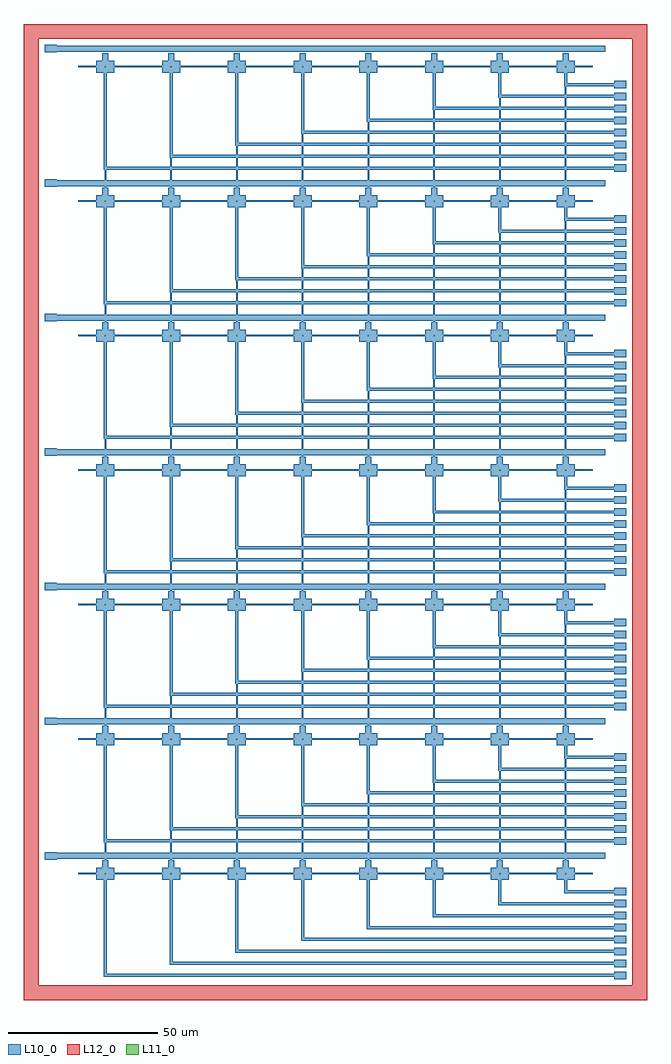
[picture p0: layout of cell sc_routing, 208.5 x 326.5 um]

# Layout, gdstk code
import gdstk
lib = gdstk.Library(unit=1e-6, precision=1e-09)
def R(c, l, rs):  # rectangles x0, y0, x1, y1
    for r in rs: c.add(gdstk.rectangle(r[:2], r[2:], *l))
def A(c, l, x, y, w, h, nx, ny, dx, dy):  # array of equal rectangles
    R(c, l, [(x+i*dx, y+j*dy, x+i*dx+w, y+j*dy+h) for i in range(nx) for j in range(ny)])
L10_0 = (10, 0)
L11_0 = (11, 0)
L12_0 = (12, 0)

sc_routing = lib.new_cell('sc_routing')
A(sc_routing, L10_0, 93.25, -170.25, 4, 2.5, 1, 8, 0, 4)
A(sc_routing, L10_0, -80, -137, 2.9, 4, 1, 7, 0, 45)
A(sc_routing, L10_0, -76.9, -137, 2.9, 4, 1, 7, 0, 45)
A(sc_routing, L10_0, -58, -137, 2.9, 4, 1, 7, 0, 45)
A(sc_routing, L10_0, -54.9, -137, 2.9, 4, 1, 7, 0, 45)
A(sc_routing, L10_0, -36, -137, 2.9, 4, 1, 7, 0, 45)
A(sc_routing, L10_0, -32.9, -137, 2.9, 4, 1, 7, 0, 45)
A(sc_routing, L10_0, -14, -137, 2.9, 4, 1, 7, 0, 45)
A(sc_routing, L10_0, -10.9, -137, 2.9, 4, 1, 7, 0, 45)
A(sc_routing, L10_0, 8, -137, 2.9, 4, 1, 7, 0, 45)
A(sc_routing, L10_0, 11.1, -137, 2.9, 4, 1, 7, 0, 45)
A(sc_routing, L10_0, 30, -137, 2.9, 4, 1, 7, 0, 45)
A(sc_routing, L10_0, 33.1, -137, 2.9, 4, 1, 7, 0, 45)
A(sc_routing, L10_0, 52, -137, 2.9, 4, 1, 7, 0, 45)
A(sc_routing, L10_0, 55.1, -137, 2.9, 4, 1, 7, 0, 45)
A(sc_routing, L10_0, 74, -137, 2.9, 4, 1, 7, 0, 45)
A(sc_routing, L10_0, 77.1, -137, 2.9, 4, 1, 7, 0, 45)
A(sc_routing, L10_0, -68.5, -135.25, 5, 0.5, 7, 7, 22, 45)
A(sc_routing, L10_0, -78, -133.5, 2, 3, 8, 7, 22, 45)
A(sc_routing, L10_0, -77.25, -133.5, 0.5, 42, 8, 6, 22, 45)
A(sc_routing, L10_0, -97.25, -130.25, 4, 2.5, 1, 7, 0, 45)
A(sc_routing, L10_0, 93.25, -125.25, 4, 2.5, 1, 8, 0, 4)
A(sc_routing, L10_0, 93.25, -80.25, 4, 2.5, 1, 8, 0, 4)
A(sc_routing, L10_0, 93.25, -35.25, 4, 2.5, 1, 8, 0, 4)
A(sc_routing, L10_0, 93.25, 9.75, 4, 2.5, 1, 8, 0, 4)
A(sc_routing, L10_0, 93.25, 54.75, 4, 2.5, 1, 8, 0, 4)
A(sc_routing, L10_0, 93.25, 99.75, 4, 2.5, 1, 8, 0, 4)
A(sc_routing, L11_0, -77.2, -135.15, 0.4, 0.3, 8, 7, 22, 45)
R(sc_routing, L12_0, [(-104.25,-177.25,104.25,-172.25), (-104.25,-177.25,-99.25,149.25), (99.25,-177.25,104.25,149.25), (-104.25,144.25,104.25,149.25)])
sc_routing.add(gdstk.FlexPath([(-80,-135),(-86,-135)], 0.5, ends="flush", simple_path=True, layer=10, datatype=0))  # L10_0
sc_routing.add(gdstk.FlexPath([(-74,-135),(-68,-135)], 0.5, ends="flush", simple_path=True, layer=10, datatype=0))  # L10_0
sc_routing.add(gdstk.FlexPath([(-58,-135),(-64,-135)], 0.5, ends="flush", simple_path=True, layer=10, datatype=0))  # L10_0
sc_routing.add(gdstk.FlexPath([(-52,-135),(-46,-135)], 0.5, ends="flush", simple_path=True, layer=10, datatype=0))  # L10_0
sc_routing.add(gdstk.FlexPath([(-36,-135),(-42,-135)], 0.5, ends="flush", simple_path=True, layer=10, datatype=0))  # L10_0
sc_routing.add(gdstk.FlexPath([(-30,-135),(-24,-135)], 0.5, ends="flush", simple_path=True, layer=10, datatype=0))  # L10_0
sc_routing.add(gdstk.FlexPath([(-14,-135),(-20,-135)], 0.5, ends="flush", simple_path=True, layer=10, datatype=0))  # L10_0
sc_routing.add(gdstk.FlexPath([(-8,-135),(-2,-135)], 0.5, ends="flush", simple_path=True, layer=10, datatype=0))  # L10_0
sc_routing.add(gdstk.FlexPath([(8,-135),(2,-135)], 0.5, ends="flush", simple_path=True, layer=10, datatype=0))  # L10_0
sc_routing.add(gdstk.FlexPath([(14,-135),(20,-135)], 0.5, ends="flush", simple_path=True, layer=10, datatype=0))  # L10_0
sc_routing.add(gdstk.FlexPath([(30,-135),(24,-135)], 0.5, ends="flush", simple_path=True, layer=10, datatype=0))  # L10_0
sc_routing.add(gdstk.FlexPath([(36,-135),(42,-135)], 0.5, ends="flush", simple_path=True, layer=10, datatype=0))  # L10_0
sc_routing.add(gdstk.FlexPath([(52,-135),(46,-135)], 0.5, ends="flush", simple_path=True, layer=10, datatype=0))  # L10_0
sc_routing.add(gdstk.FlexPath([(58,-135),(64,-135)], 0.5, ends="flush", simple_path=True, layer=10, datatype=0))  # L10_0
sc_routing.add(gdstk.FlexPath([(74,-135),(68,-135)], 0.5, ends="flush", simple_path=True, layer=10, datatype=0))  # L10_0
sc_routing.add(gdstk.FlexPath([(80,-135),(86,-135)], 0.5, ends="flush", simple_path=True, layer=10, datatype=0))  # L10_0
sc_routing.add(gdstk.FlexPath([(-80,-90),(-86,-90)], 0.5, ends="flush", simple_path=True, layer=10, datatype=0))  # L10_0
sc_routing.add(gdstk.FlexPath([(-74,-90),(-68,-90)], 0.5, ends="flush", simple_path=True, layer=10, datatype=0))  # L10_0
sc_routing.add(gdstk.FlexPath([(-58,-90),(-64,-90)], 0.5, ends="flush", simple_path=True, layer=10, datatype=0))  # L10_0
sc_routing.add(gdstk.FlexPath([(-52,-90),(-46,-90)], 0.5, ends="flush", simple_path=True, layer=10, datatype=0))  # L10_0
sc_routing.add(gdstk.FlexPath([(-36,-90),(-42,-90)], 0.5, ends="flush", simple_path=True, layer=10, datatype=0))  # L10_0
sc_routing.add(gdstk.FlexPath([(-30,-90),(-24,-90)], 0.5, ends="flush", simple_path=True, layer=10, datatype=0))  # L10_0
sc_routing.add(gdstk.FlexPath([(-14,-90),(-20,-90)], 0.5, ends="flush", simple_path=True, layer=10, datatype=0))  # L10_0
sc_routing.add(gdstk.FlexPath([(-8,-90),(-2,-90)], 0.5, ends="flush", simple_path=True, layer=10, datatype=0))  # L10_0
sc_routing.add(gdstk.FlexPath([(8,-90),(2,-90)], 0.5, ends="flush", simple_path=True, layer=10, datatype=0))  # L10_0
sc_routing.add(gdstk.FlexPath([(14,-90),(20,-90)], 0.5, ends="flush", simple_path=True, layer=10, datatype=0))  # L10_0
sc_routing.add(gdstk.FlexPath([(30,-90),(24,-90)], 0.5, ends="flush", simple_path=True, layer=10, datatype=0))  # L10_0
sc_routing.add(gdstk.FlexPath([(36,-90),(42,-90)], 0.5, ends="flush", simple_path=True, layer=10, datatype=0))  # L10_0
sc_routing.add(gdstk.FlexPath([(52,-90),(46,-90)], 0.5, ends="flush", simple_path=True, layer=10, datatype=0))  # L10_0
sc_routing.add(gdstk.FlexPath([(58,-90),(64,-90)], 0.5, ends="flush", simple_path=True, layer=10, datatype=0))  # L10_0
sc_routing.add(gdstk.FlexPath([(74,-90),(68,-90)], 0.5, ends="flush", simple_path=True, layer=10, datatype=0))  # L10_0
sc_routing.add(gdstk.FlexPath([(80,-90),(86,-90)], 0.5, ends="flush", simple_path=True, layer=10, datatype=0))  # L10_0
sc_routing.add(gdstk.FlexPath([(-80,-45),(-86,-45)], 0.5, ends="flush", simple_path=True, layer=10, datatype=0))  # L10_0
sc_routing.add(gdstk.FlexPath([(-74,-45),(-68,-45)], 0.5, ends="flush", simple_path=True, layer=10, datatype=0))  # L10_0
sc_routing.add(gdstk.FlexPath([(-58,-45),(-64,-45)], 0.5, ends="flush", simple_path=True, layer=10, datatype=0))  # L10_0
sc_routing.add(gdstk.FlexPath([(-52,-45),(-46,-45)], 0.5, ends="flush", simple_path=True, layer=10, datatype=0))  # L10_0
sc_routing.add(gdstk.FlexPath([(-36,-45),(-42,-45)], 0.5, ends="flush", simple_path=True, layer=10, datatype=0))  # L10_0
sc_routing.add(gdstk.FlexPath([(-30,-45),(-24,-45)], 0.5, ends="flush", simple_path=True, layer=10, datatype=0))  # L10_0
sc_routing.add(gdstk.FlexPath([(-14,-45),(-20,-45)], 0.5, ends="flush", simple_path=True, layer=10, datatype=0))  # L10_0
sc_routing.add(gdstk.FlexPath([(-8,-45),(-2,-45)], 0.5, ends="flush", simple_path=True, layer=10, datatype=0))  # L10_0
sc_routing.add(gdstk.FlexPath([(8,-45),(2,-45)], 0.5, ends="flush", simple_path=True, layer=10, datatype=0))  # L10_0
sc_routing.add(gdstk.FlexPath([(14,-45),(20,-45)], 0.5, ends="flush", simple_path=True, layer=10, datatype=0))  # L10_0
sc_routing.add(gdstk.FlexPath([(30,-45),(24,-45)], 0.5, ends="flush", simple_path=True, layer=10, datatype=0))  # L10_0
sc_routing.add(gdstk.FlexPath([(36,-45),(42,-45)], 0.5, ends="flush", simple_path=True, layer=10, datatype=0))  # L10_0
sc_routing.add(gdstk.FlexPath([(52,-45),(46,-45)], 0.5, ends="flush", simple_path=True, layer=10, datatype=0))  # L10_0
sc_routing.add(gdstk.FlexPath([(58,-45),(64,-45)], 0.5, ends="flush", simple_path=True, layer=10, datatype=0))  # L10_0
sc_routing.add(gdstk.FlexPath([(74,-45),(68,-45)], 0.5, ends="flush", simple_path=True, layer=10, datatype=0))  # L10_0
sc_routing.add(gdstk.FlexPath([(80,-45),(86,-45)], 0.5, ends="flush", simple_path=True, layer=10, datatype=0))  # L10_0
sc_routing.add(gdstk.FlexPath([(-80,0),(-86,0)], 0.5, ends="flush", simple_path=True, layer=10, datatype=0))  # L10_0
sc_routing.add(gdstk.FlexPath([(-74,0),(-68,0)], 0.5, ends="flush", simple_path=True, layer=10, datatype=0))  # L10_0
sc_routing.add(gdstk.FlexPath([(-58,0),(-64,0)], 0.5, ends="flush", simple_path=True, layer=10, datatype=0))  # L10_0
sc_routing.add(gdstk.FlexPath([(-52,0),(-46,0)], 0.5, ends="flush", simple_path=True, layer=10, datatype=0))  # L10_0
sc_routing.add(gdstk.FlexPath([(-36,0),(-42,0)], 0.5, ends="flush", simple_path=True, layer=10, datatype=0))  # L10_0
sc_routing.add(gdstk.FlexPath([(-30,0),(-24,0)], 0.5, ends="flush", simple_path=True, layer=10, datatype=0))  # L10_0
sc_routing.add(gdstk.FlexPath([(-14,0),(-20,0)], 0.5, ends="flush", simple_path=True, layer=10, datatype=0))  # L10_0
sc_routing.add(gdstk.FlexPath([(-8,0),(-2,0)], 0.5, ends="flush", simple_path=True, layer=10, datatype=0))  # L10_0
sc_routing.add(gdstk.FlexPath([(8,0),(2,0)], 0.5, ends="flush", simple_path=True, layer=10, datatype=0))  # L10_0
sc_routing.add(gdstk.FlexPath([(14,0),(20,0)], 0.5, ends="flush", simple_path=True, layer=10, datatype=0))  # L10_0
sc_routing.add(gdstk.FlexPath([(30,0),(24,0)], 0.5, ends="flush", simple_path=True, layer=10, datatype=0))  # L10_0
sc_routing.add(gdstk.FlexPath([(36,0),(42,0)], 0.5, ends="flush", simple_path=True, layer=10, datatype=0))  # L10_0
sc_routing.add(gdstk.FlexPath([(52,0),(46,0)], 0.5, ends="flush", simple_path=True, layer=10, datatype=0))  # L10_0
sc_routing.add(gdstk.FlexPath([(58,0),(64,0)], 0.5, ends="flush", simple_path=True, layer=10, datatype=0))  # L10_0
sc_routing.add(gdstk.FlexPath([(74,0),(68,0)], 0.5, ends="flush", simple_path=True, layer=10, datatype=0))  # L10_0
sc_routing.add(gdstk.FlexPath([(80,0),(86,0)], 0.5, ends="flush", simple_path=True, layer=10, datatype=0))  # L10_0
sc_routing.add(gdstk.FlexPath([(-80,45),(-86,45)], 0.5, ends="flush", simple_path=True, layer=10, datatype=0))  # L10_0
sc_routing.add(gdstk.FlexPath([(-74,45),(-68,45)], 0.5, ends="flush", simple_path=True, layer=10, datatype=0))  # L10_0
sc_routing.add(gdstk.FlexPath([(-58,45),(-64,45)], 0.5, ends="flush", simple_path=True, layer=10, datatype=0))  # L10_0
sc_routing.add(gdstk.FlexPath([(-52,45),(-46,45)], 0.5, ends="flush", simple_path=True, layer=10, datatype=0))  # L10_0
sc_routing.add(gdstk.FlexPath([(-36,45),(-42,45)], 0.5, ends="flush", simple_path=True, layer=10, datatype=0))  # L10_0
sc_routing.add(gdstk.FlexPath([(-30,45),(-24,45)], 0.5, ends="flush", simple_path=True, layer=10, datatype=0))  # L10_0
sc_routing.add(gdstk.FlexPath([(-14,45),(-20,45)], 0.5, ends="flush", simple_path=True, layer=10, datatype=0))  # L10_0
sc_routing.add(gdstk.FlexPath([(-8,45),(-2,45)], 0.5, ends="flush", simple_path=True, layer=10, datatype=0))  # L10_0
sc_routing.add(gdstk.FlexPath([(8,45),(2,45)], 0.5, ends="flush", simple_path=True, layer=10, datatype=0))  # L10_0
sc_routing.add(gdstk.FlexPath([(14,45),(20,45)], 0.5, ends="flush", simple_path=True, layer=10, datatype=0))  # L10_0
sc_routing.add(gdstk.FlexPath([(30,45),(24,45)], 0.5, ends="flush", simple_path=True, layer=10, datatype=0))  # L10_0
sc_routing.add(gdstk.FlexPath([(36,45),(42,45)], 0.5, ends="flush", simple_path=True, layer=10, datatype=0))  # L10_0
sc_routing.add(gdstk.FlexPath([(52,45),(46,45)], 0.5, ends="flush", simple_path=True, layer=10, datatype=0))  # L10_0
sc_routing.add(gdstk.FlexPath([(58,45),(64,45)], 0.5, ends="flush", simple_path=True, layer=10, datatype=0))  # L10_0
sc_routing.add(gdstk.FlexPath([(74,45),(68,45)], 0.5, ends="flush", simple_path=True, layer=10, datatype=0))  # L10_0
sc_routing.add(gdstk.FlexPath([(80,45),(86,45)], 0.5, ends="flush", simple_path=True, layer=10, datatype=0))  # L10_0
sc_routing.add(gdstk.FlexPath([(-80,90),(-86,90)], 0.5, ends="flush", simple_path=True, layer=10, datatype=0))  # L10_0
sc_routing.add(gdstk.FlexPath([(-74,90),(-68,90)], 0.5, ends="flush", simple_path=True, layer=10, datatype=0))  # L10_0
sc_routing.add(gdstk.FlexPath([(-58,90),(-64,90)], 0.5, ends="flush", simple_path=True, layer=10, datatype=0))  # L10_0
sc_routing.add(gdstk.FlexPath([(-52,90),(-46,90)], 0.5, ends="flush", simple_path=True, layer=10, datatype=0))  # L10_0
sc_routing.add(gdstk.FlexPath([(-36,90),(-42,90)], 0.5, ends="flush", simple_path=True, layer=10, datatype=0))  # L10_0
sc_routing.add(gdstk.FlexPath([(-30,90),(-24,90)], 0.5, ends="flush", simple_path=True, layer=10, datatype=0))  # L10_0
sc_routing.add(gdstk.FlexPath([(-14,90),(-20,90)], 0.5, ends="flush", simple_path=True, layer=10, datatype=0))  # L10_0
sc_routing.add(gdstk.FlexPath([(-8,90),(-2,90)], 0.5, ends="flush", simple_path=True, layer=10, datatype=0))  # L10_0
sc_routing.add(gdstk.FlexPath([(8,90),(2,90)], 0.5, ends="flush", simple_path=True, layer=10, datatype=0))  # L10_0
sc_routing.add(gdstk.FlexPath([(14,90),(20,90)], 0.5, ends="flush", simple_path=True, layer=10, datatype=0))  # L10_0
sc_routing.add(gdstk.FlexPath([(30,90),(24,90)], 0.5, ends="flush", simple_path=True, layer=10, datatype=0))  # L10_0
sc_routing.add(gdstk.FlexPath([(36,90),(42,90)], 0.5, ends="flush", simple_path=True, layer=10, datatype=0))  # L10_0
sc_routing.add(gdstk.FlexPath([(52,90),(46,90)], 0.5, ends="flush", simple_path=True, layer=10, datatype=0))  # L10_0
sc_routing.add(gdstk.FlexPath([(58,90),(64,90)], 0.5, ends="flush", simple_path=True, layer=10, datatype=0))  # L10_0
sc_routing.add(gdstk.FlexPath([(74,90),(68,90)], 0.5, ends="flush", simple_path=True, layer=10, datatype=0))  # L10_0
sc_routing.add(gdstk.FlexPath([(80,90),(86,90)], 0.5, ends="flush", simple_path=True, layer=10, datatype=0))  # L10_0
sc_routing.add(gdstk.FlexPath([(-80,135),(-86,135)], 0.5, ends="flush", simple_path=True, layer=10, datatype=0))  # L10_0
sc_routing.add(gdstk.FlexPath([(-74,135),(-68,135)], 0.5, ends="flush", simple_path=True, layer=10, datatype=0))  # L10_0
sc_routing.add(gdstk.FlexPath([(-58,135),(-64,135)], 0.5, ends="flush", simple_path=True, layer=10, datatype=0))  # L10_0
sc_routing.add(gdstk.FlexPath([(-52,135),(-46,135)], 0.5, ends="flush", simple_path=True, layer=10, datatype=0))  # L10_0
sc_routing.add(gdstk.FlexPath([(-36,135),(-42,135)], 0.5, ends="flush", simple_path=True, layer=10, datatype=0))  # L10_0
sc_routing.add(gdstk.FlexPath([(-30,135),(-24,135)], 0.5, ends="flush", simple_path=True, layer=10, datatype=0))  # L10_0
sc_routing.add(gdstk.FlexPath([(-14,135),(-20,135)], 0.5, ends="flush", simple_path=True, layer=10, datatype=0))  # L10_0
sc_routing.add(gdstk.FlexPath([(-8,135),(-2,135)], 0.5, ends="flush", simple_path=True, layer=10, datatype=0))  # L10_0
sc_routing.add(gdstk.FlexPath([(8,135),(2,135)], 0.5, ends="flush", simple_path=True, layer=10, datatype=0))  # L10_0
sc_routing.add(gdstk.FlexPath([(14,135),(20,135)], 0.5, ends="flush", simple_path=True, layer=10, datatype=0))  # L10_0
sc_routing.add(gdstk.FlexPath([(30,135),(24,135)], 0.5, ends="flush", simple_path=True, layer=10, datatype=0))  # L10_0
sc_routing.add(gdstk.FlexPath([(36,135),(42,135)], 0.5, ends="flush", simple_path=True, layer=10, datatype=0))  # L10_0
sc_routing.add(gdstk.FlexPath([(52,135),(46,135)], 0.5, ends="flush", simple_path=True, layer=10, datatype=0))  # L10_0
sc_routing.add(gdstk.FlexPath([(58,135),(64,135)], 0.5, ends="flush", simple_path=True, layer=10, datatype=0))  # L10_0
sc_routing.add(gdstk.FlexPath([(74,135),(68,135)], 0.5, ends="flush", simple_path=True, layer=10, datatype=0))  # L10_0
sc_routing.add(gdstk.FlexPath([(80,135),(86,135)], 0.5, ends="flush", simple_path=True, layer=10, datatype=0))  # L10_0
sc_routing.add(gdstk.FlexPath([(-95.25,-129),(-90.25,-129),(90.25,-129)], 2, ends="flush", simple_path=True, layer=10, datatype=0))  # L10_0
sc_routing.add(gdstk.FlexPath([(-95.25,-84),(-90.25,-84),(90.25,-84)], 2, ends="flush", simple_path=True, layer=10, datatype=0))  # L10_0
sc_routing.add(gdstk.FlexPath([(-95.25,-39),(-90.25,-39),(90.25,-39)], 2, ends="flush", simple_path=True, layer=10, datatype=0))  # L10_0
sc_routing.add(gdstk.FlexPath([(-95.25,6),(-90.25,6),(90.25,6)], 2, ends="flush", simple_path=True, layer=10, datatype=0))  # L10_0
sc_routing.add(gdstk.FlexPath([(-95.25,51),(-90.25,51),(90.25,51)], 2, ends="flush", simple_path=True, layer=10, datatype=0))  # L10_0
sc_routing.add(gdstk.FlexPath([(-95.25,96),(-90.25,96),(90.25,96)], 2, ends="flush", simple_path=True, layer=10, datatype=0))  # L10_0
sc_routing.add(gdstk.FlexPath([(-95.25,141),(-90.25,141),(90.25,141)], 2, ends="flush", simple_path=True, layer=10, datatype=0))  # L10_0
sc_routing.add(gdstk.FlexPath([(-77,-135),(-77,-169),(95.25,-169)], 1, ends="flush", simple_path=True, layer=10, datatype=0))  # L10_0
sc_routing.add(gdstk.FlexPath([(-55,-135),(-55,-165),(95.25,-165)], 1, ends="flush", simple_path=True, layer=10, datatype=0))  # L10_0
sc_routing.add(gdstk.FlexPath([(-33,-135),(-33,-161),(95.25,-161)], 1, ends="flush", simple_path=True, layer=10, datatype=0))  # L10_0
sc_routing.add(gdstk.FlexPath([(-11,-135),(-11,-157),(95.25,-157)], 1, ends="flush", simple_path=True, layer=10, datatype=0))  # L10_0
sc_routing.add(gdstk.FlexPath([(11,-135),(11,-153),(95.25,-153)], 1, ends="flush", simple_path=True, layer=10, datatype=0))  # L10_0
sc_routing.add(gdstk.FlexPath([(33,-135),(33,-149),(95.25,-149)], 1, ends="flush", simple_path=True, layer=10, datatype=0))  # L10_0
sc_routing.add(gdstk.FlexPath([(55,-135),(55,-145),(95.25,-145)], 1, ends="flush", simple_path=True, layer=10, datatype=0))  # L10_0
sc_routing.add(gdstk.FlexPath([(77,-135),(77,-141),(95.25,-141)], 1, ends="flush", simple_path=True, layer=10, datatype=0))  # L10_0
sc_routing.add(gdstk.FlexPath([(-77,-90),(-77,-124),(95.25,-124)], 1, ends="flush", simple_path=True, layer=10, datatype=0))  # L10_0
sc_routing.add(gdstk.FlexPath([(-55,-90),(-55,-120),(95.25,-120)], 1, ends="flush", simple_path=True, layer=10, datatype=0))  # L10_0
sc_routing.add(gdstk.FlexPath([(-33,-90),(-33,-116),(95.25,-116)], 1, ends="flush", simple_path=True, layer=10, datatype=0))  # L10_0
sc_routing.add(gdstk.FlexPath([(-11,-90),(-11,-112),(95.25,-112)], 1, ends="flush", simple_path=True, layer=10, datatype=0))  # L10_0
sc_routing.add(gdstk.FlexPath([(11,-90),(11,-108),(95.25,-108)], 1, ends="flush", simple_path=True, layer=10, datatype=0))  # L10_0
sc_routing.add(gdstk.FlexPath([(33,-90),(33,-104),(95.25,-104)], 1, ends="flush", simple_path=True, layer=10, datatype=0))  # L10_0
sc_routing.add(gdstk.FlexPath([(55,-90),(55,-100),(95.25,-100)], 1, ends="flush", simple_path=True, layer=10, datatype=0))  # L10_0
sc_routing.add(gdstk.FlexPath([(77,-90),(77,-96),(95.25,-96)], 1, ends="flush", simple_path=True, layer=10, datatype=0))  # L10_0
sc_routing.add(gdstk.FlexPath([(-77,-45),(-77,-79),(95.25,-79)], 1, ends="flush", simple_path=True, layer=10, datatype=0))  # L10_0
sc_routing.add(gdstk.FlexPath([(-55,-45),(-55,-75),(95.25,-75)], 1, ends="flush", simple_path=True, layer=10, datatype=0))  # L10_0
sc_routing.add(gdstk.FlexPath([(-33,-45),(-33,-71),(95.25,-71)], 1, ends="flush", simple_path=True, layer=10, datatype=0))  # L10_0
sc_routing.add(gdstk.FlexPath([(-11,-45),(-11,-67),(95.25,-67)], 1, ends="flush", simple_path=True, layer=10, datatype=0))  # L10_0
sc_routing.add(gdstk.FlexPath([(11,-45),(11,-63),(95.25,-63)], 1, ends="flush", simple_path=True, layer=10, datatype=0))  # L10_0
sc_routing.add(gdstk.FlexPath([(33,-45),(33,-59),(95.25,-59)], 1, ends="flush", simple_path=True, layer=10, datatype=0))  # L10_0
sc_routing.add(gdstk.FlexPath([(55,-45),(55,-55),(95.25,-55)], 1, ends="flush", simple_path=True, layer=10, datatype=0))  # L10_0
sc_routing.add(gdstk.FlexPath([(77,-45),(77,-51),(95.25,-51)], 1, ends="flush", simple_path=True, layer=10, datatype=0))  # L10_0
sc_routing.add(gdstk.FlexPath([(-77,0),(-77,-34),(95.25,-34)], 1, ends="flush", simple_path=True, layer=10, datatype=0))  # L10_0
sc_routing.add(gdstk.FlexPath([(-55,0),(-55,-30),(95.25,-30)], 1, ends="flush", simple_path=True, layer=10, datatype=0))  # L10_0
sc_routing.add(gdstk.FlexPath([(-33,0),(-33,-26),(95.25,-26)], 1, ends="flush", simple_path=True, layer=10, datatype=0))  # L10_0
sc_routing.add(gdstk.FlexPath([(-11,0),(-11,-22),(95.25,-22)], 1, ends="flush", simple_path=True, layer=10, datatype=0))  # L10_0
sc_routing.add(gdstk.FlexPath([(11,0),(11,-18),(95.25,-18)], 1, ends="flush", simple_path=True, layer=10, datatype=0))  # L10_0
sc_routing.add(gdstk.FlexPath([(33,0),(33,-14),(95.25,-14)], 1, ends="flush", simple_path=True, layer=10, datatype=0))  # L10_0
sc_routing.add(gdstk.FlexPath([(55,0),(55,-10),(95.25,-10)], 1, ends="flush", simple_path=True, layer=10, datatype=0))  # L10_0
sc_routing.add(gdstk.FlexPath([(77,0),(77,-6),(95.25,-6)], 1, ends="flush", simple_path=True, layer=10, datatype=0))  # L10_0
sc_routing.add(gdstk.FlexPath([(-77,45),(-77,11),(95.25,11)], 1, ends="flush", simple_path=True, layer=10, datatype=0))  # L10_0
sc_routing.add(gdstk.FlexPath([(-55,45),(-55,15),(95.25,15)], 1, ends="flush", simple_path=True, layer=10, datatype=0))  # L10_0
sc_routing.add(gdstk.FlexPath([(-33,45),(-33,19),(95.25,19)], 1, ends="flush", simple_path=True, layer=10, datatype=0))  # L10_0
sc_routing.add(gdstk.FlexPath([(-11,45),(-11,23),(95.25,23)], 1, ends="flush", simple_path=True, layer=10, datatype=0))  # L10_0
sc_routing.add(gdstk.FlexPath([(11,45),(11,27),(95.25,27)], 1, ends="flush", simple_path=True, layer=10, datatype=0))  # L10_0
sc_routing.add(gdstk.FlexPath([(33,45),(33,31),(95.25,31)], 1, ends="flush", simple_path=True, layer=10, datatype=0))  # L10_0
sc_routing.add(gdstk.FlexPath([(55,45),(55,35),(95.25,35)], 1, ends="flush", simple_path=True, layer=10, datatype=0))  # L10_0
sc_routing.add(gdstk.FlexPath([(77,45),(77,39),(95.25,39)], 1, ends="flush", simple_path=True, layer=10, datatype=0))  # L10_0
sc_routing.add(gdstk.FlexPath([(-77,90),(-77,56),(95.25,56)], 1, ends="flush", simple_path=True, layer=10, datatype=0))  # L10_0
sc_routing.add(gdstk.FlexPath([(-55,90),(-55,60),(95.25,60)], 1, ends="flush", simple_path=True, layer=10, datatype=0))  # L10_0
sc_routing.add(gdstk.FlexPath([(-33,90),(-33,64),(95.25,64)], 1, ends="flush", simple_path=True, layer=10, datatype=0))  # L10_0
sc_routing.add(gdstk.FlexPath([(-11,90),(-11,68),(95.25,68)], 1, ends="flush", simple_path=True, layer=10, datatype=0))  # L10_0
sc_routing.add(gdstk.FlexPath([(11,90),(11,72),(95.25,72)], 1, ends="flush", simple_path=True, layer=10, datatype=0))  # L10_0
sc_routing.add(gdstk.FlexPath([(33,90),(33,76),(95.25,76)], 1, ends="flush", simple_path=True, layer=10, datatype=0))  # L10_0
sc_routing.add(gdstk.FlexPath([(55,90),(55,80),(95.25,80)], 1, ends="flush", simple_path=True, layer=10, datatype=0))  # L10_0
sc_routing.add(gdstk.FlexPath([(77,90),(77,84),(95.25,84)], 1, ends="flush", simple_path=True, layer=10, datatype=0))  # L10_0
sc_routing.add(gdstk.FlexPath([(-77,135),(-77,101),(95.25,101)], 1, ends="flush", simple_path=True, layer=10, datatype=0))  # L10_0
sc_routing.add(gdstk.FlexPath([(-55,135),(-55,105),(95.25,105)], 1, ends="flush", simple_path=True, layer=10, datatype=0))  # L10_0
sc_routing.add(gdstk.FlexPath([(-33,135),(-33,109),(95.25,109)], 1, ends="flush", simple_path=True, layer=10, datatype=0))  # L10_0
sc_routing.add(gdstk.FlexPath([(-11,135),(-11,113),(95.25,113)], 1, ends="flush", simple_path=True, layer=10, datatype=0))  # L10_0
sc_routing.add(gdstk.FlexPath([(11,135),(11,117),(95.25,117)], 1, ends="flush", simple_path=True, layer=10, datatype=0))  # L10_0
sc_routing.add(gdstk.FlexPath([(33,135),(33,121),(95.25,121)], 1, ends="flush", simple_path=True, layer=10, datatype=0))  # L10_0
sc_routing.add(gdstk.FlexPath([(55,135),(55,125),(95.25,125)], 1, ends="flush", simple_path=True, layer=10, datatype=0))  # L10_0
sc_routing.add(gdstk.FlexPath([(77,135),(77,129),(95.25,129)], 1, ends="flush", simple_path=True, layer=10, datatype=0))  # L10_0

lib.write_gds('sc_routing.gds')
